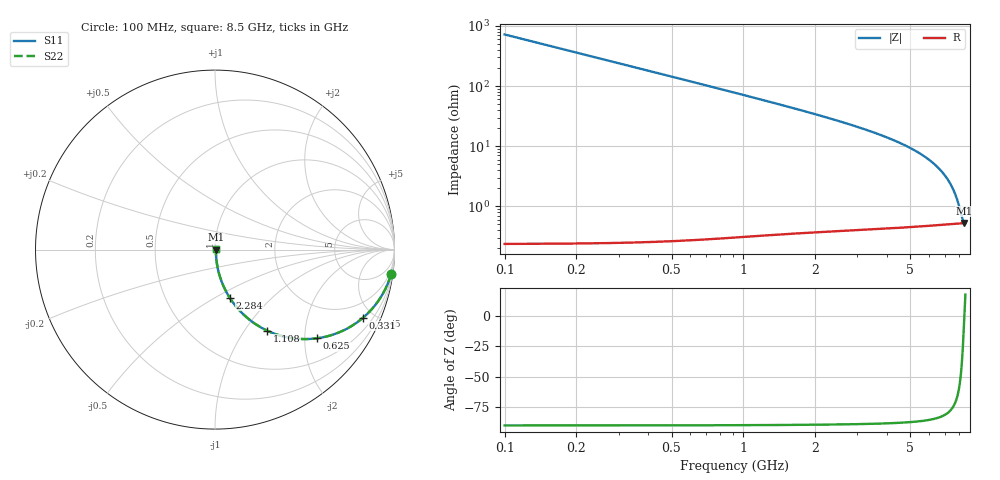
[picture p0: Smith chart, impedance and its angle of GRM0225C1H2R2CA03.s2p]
!Murata Part Number: GRM0225C1H2R2CA03
!These Parameters are Measured in Series Mode Connection
!Data Generated on Mar 30, 2021
!  o--ll--o
!Port1  Port2
!  o------o
!Operation Temp=25[degC], DC Bias Voltage=0[V]
!Freq. Start=100[MHz] Stop=9[GHz] 401[Steps]
# Hz S RI R 50
!Freq.(Hz) S11(Real) S11(Imag) S21(Real) S21(Imag) S12(Real) S12(Imag) S22(Real) S22(Imag)
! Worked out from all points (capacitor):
!   401 points, 100 MHz to 8.5 GHz, reference 50 ohm
!   read as one part in series: C = 2.2 pF near 142 MHz
!   lowest |Z| = 525 mohm at 8.416 GHz (marker M1)
!   series resonance near 8.417 GHz, so ESL is about 160 pH
!   S11 on the Smith chart (normalised r, x): 100 MHz: 1, -14; 331 MHz: 1.00, -4.36; 625 MHz: 1.01, -2.30; 1.108 GHz: 1.01, -1.28; 2.284 GHz: 1.01, -0.59; 8.5 GHz: 1.01, +0.00
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1e8  0.9812 -0.1356  0.0188 0.1356  0.0188 0.1356  0.9812 -0.1356
1.84e8  0.939 -0.2389  0.061 0.2389  0.061 0.2389  0.939 -0.2389
2.26e8  0.9108 -0.2847  0.0892 0.2847  0.0892 0.2847  0.9108 -0.2847
3.31e8  0.8261 -0.3784  0.1739 0.3784  0.1739 0.3784  0.8261 -0.3784
4.57e8  0.7131 -0.4515  0.2869 0.4515  0.2869 0.4515  0.7131 -0.4515
6.25e8  0.5694 -0.494  0.4306 0.494  0.4306 0.494  0.5694 -0.494
8.56e8  0.4114 -0.4903  0.5886 0.4903  0.5886 0.4903  0.4114 -0.4903
1.108e9  0.292 -0.4522  0.708 0.4522  0.708 0.4522  0.292 -0.4522
1.507e9  0.1788 -0.3795  0.8212 0.3795  0.8212 0.3795  0.1788 -0.3795
1.864e9  0.1218 -0.3222  0.8782 0.3222  0.8782 0.3222  0.1218 -0.3222
2.284e9  0.0818 -0.2676  0.9182 0.2676  0.9182 0.2676  0.0818 -0.2676
2.914e9  0.0487 -0.2063  0.9513 0.2063  0.9513 0.2063  0.0487 -0.2063
4.3e9  0.0192 -0.1208  0.9808 0.1208  0.9808 0.1208  0.0192 -0.1208
5.707e9  0.00919 -0.0671  0.9908 0.0671  0.9908 0.0671  0.00919 -0.0671
6.505e9  0.00677 -0.0439  0.9932 0.0439  0.9932 0.0439  0.00677 -0.0439
7.114e9  0.00577 -0.0285  0.9942 0.0285  0.9942 0.0285  0.00577 -0.0285
7.429e9  0.00547 -0.0211  0.9945 0.0211  0.9945 0.0211  0.00547 -0.0211
7.702e9  0.0053 -0.015  0.9947 0.015  0.9947 0.015  0.0053 -0.015
7.954e9  0.00522 -0.00954  0.9948 0.00954  0.9948 0.00954  0.00522 -0.00954
8.29e9  0.0052 -0.00256  0.9948 0.00256  0.9948 0.00256  0.0052 -0.00256
8.416e9  0.00522 -2.33e-05  0.9948 2.33e-05  0.9948 2.33e-05  0.00522 -2.33e-05
8.5e9  0.00524 0.00165  0.9948 -0.00165  0.9948 -0.00165  0.00524 0.00165
